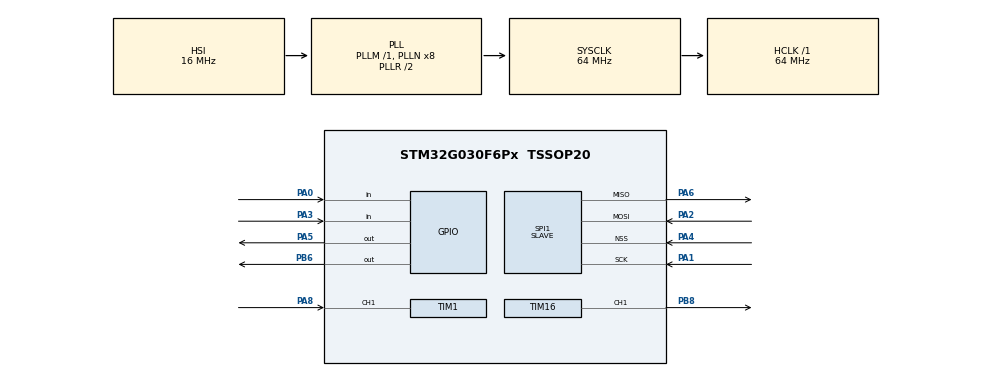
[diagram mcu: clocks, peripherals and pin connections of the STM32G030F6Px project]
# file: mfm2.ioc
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Dma.Request0=TIM1_CH1
Dma.Request1=SPI1_RX
Dma.Request2=SPI1_TX
Dma.Request3=TIM16_UP
Dma.SPI1_RX.1.Direction=DMA_PERIPH_TO_MEMORY
Dma.SPI1_RX.1.EventEnable=DISABLE
Dma.SPI1_RX.1.Instance=DMA1_Channel2
Dma.SPI1_RX.1.MemDataAlignment=DMA_MDATAALIGN_BYTE
Dma.SPI1_RX.1.MemInc=DMA_MINC_ENABLE
Dma.SPI1_RX.1.Mode=DMA_CIRCULAR
Dma.SPI1_RX.1.PeriphDataAlignment=DMA_PDATAALIGN_BYTE
Dma.SPI1_RX.1.PeriphInc=DMA_PINC_DISABLE
Dma.SPI1_RX.1.Polarity=HAL_DMAMUX_REQ_GEN_RISING
Dma.SPI1_RX.1.Priority=DMA_PRIORITY_VERY_HIGH
Dma.SPI1_RX.1.RequestNumber=1
Dma.SPI1_RX.1.SignalID=NONE
Dma.SPI1_RX.1.SyncEnable=DISABLE
Dma.SPI1_RX.1.SyncPolarity=HAL_DMAMUX_SYNC_NO_EVENT
Dma.SPI1_RX.1.SyncRequestNumber=1
Dma.SPI1_RX.1.SyncSignalID=NONE
Dma.SPI1_TX.2.Direction=DMA_MEMORY_TO_PERIPH
Dma.SPI1_TX.2.EventEnable=DISABLE
Dma.SPI1_TX.2.Instance=DMA1_Channel3
Dma.SPI1_TX.2.MemDataAlignment=DMA_MDATAALIGN_BYTE
Dma.SPI1_TX.2.MemInc=DMA_MINC_ENABLE
Dma.SPI1_TX.2.Mode=DMA_NORMAL
Dma.SPI1_TX.2.PeriphDataAlignment=DMA_PDATAALIGN_BYTE
Dma.SPI1_TX.2.PeriphInc=DMA_PINC_DISABLE
Dma.SPI1_TX.2.Polarity=HAL_DMAMUX_REQ_GEN_RISING
Dma.SPI1_TX.2.Priority=DMA_PRIORITY_HIGH
Dma.SPI1_TX.2.RequestNumber=1
Dma.SPI1_TX.2.SignalID=NONE
Dma.SPI1_TX.2.SyncEnable=DISABLE
Dma.SPI1_TX.2.SyncPolarity=HAL_DMAMUX_SYNC_NO_EVENT
Dma.SPI1_TX.2.SyncRequestNumber=1
Dma.SPI1_TX.2.SyncSignalID=NONE
Dma.TIM16_UP.3.Direction=DMA_MEMORY_TO_PERIPH
Dma.TIM16_UP.3.EventEnable=DISABLE
Dma.TIM16_UP.3.Instance=DMA1_Channel1
Dma.TIM16_UP.3.MemDataAlignment=DMA_MDATAALIGN_HALFWORD
Dma.TIM16_UP.3.MemInc=DMA_MINC_ENABLE
Dma.TIM16_UP.3.Mode=DMA_CIRCULAR
Dma.TIM16_UP.3.PeriphDataAlignment=DMA_PDATAALIGN_HALFWORD
Dma.TIM16_UP.3.PeriphInc=DMA_PINC_DISABLE
Dma.TIM16_UP.3.Polarity=HAL_DMAMUX_REQ_GEN_RISING
Dma.TIM16_UP.3.Priority=DMA_PRIORITY_LOW
Dma.TIM16_UP.3.RequestNumber=1
Dma.TIM16_UP.3.SignalID=NONE
Dma.TIM16_UP.3.SyncEnable=DISABLE
Dma.TIM16_UP.3.SyncPolarity=HAL_DMAMUX_SYNC_NO_EVENT
Dma.TIM16_UP.3.SyncRequestNumber=1
Dma.TIM16_UP.3.SyncSignalID=NONE
Dma.TIM1_CH1.0.Direction=DMA_PERIPH_TO_MEMORY
Dma.TIM1_CH1.0.EventEnable=DISABLE
Dma.TIM1_CH1.0.Instance=DMA1_Channel5
Dma.TIM1_CH1.0.MemDataAlignment=DMA_MDATAALIGN_HALFWORD
Dma.TIM1_CH1.0.MemInc=DMA_MINC_ENABLE
Dma.TIM1_CH1.0.Mode=DMA_CIRCULAR
Dma.TIM1_CH1.0.PeriphDataAlignment=DMA_PDATAALIGN_HALFWORD
Dma.TIM1_CH1.0.PeriphInc=DMA_PINC_DISABLE
Dma.TIM1_CH1.0.Polarity=HAL_DMAMUX_REQ_GEN_RISING
Dma.TIM1_CH1.0.Priority=DMA_PRIORITY_LOW
Dma.TIM1_CH1.0.RequestNumber=1
Dma.TIM1_CH1.0.SignalID=NONE
Dma.TIM1_CH1.0.SyncEnable=DISABLE
Dma.TIM1_CH1.0.SyncPolarity=HAL_DMAMUX_SYNC_NO_EVENT
Dma.TIM1_CH1.0.SyncRequestNumber=1
Dma.TIM1_CH1.0.SyncSignalID=NONE
Mcu.Family=STM32G0
Mcu.Name=STM32G030F6Px
Mcu.Package=TSSOP20
NVIC.DMA1_Ch4_5_DMAMUX1_OVR_IRQn=true\:0\:0\:false\:false\:true\:false\:true\:true
NVIC.DMA1_Channel1_IRQn=true\:0\:0\:false\:false\:true\:false\:true\:true
NVIC.DMA1_Channel2_3_IRQn=true\:0\:0\:false\:false\:true\:false\:true\:true
PA0.Signal=GPIO_Input
PA1.Mode=Full_Duplex_Slave
PA1.Signal=SPI1_SCK
PA14-BOOT0__PA15.StandardMode=true
PA2.Mode=Full_Duplex_Slave
PA2.Signal=SPI1_MOSI
PA3.Signal=GPIO_Input
PA4.Mode=NSS_Signal_Hard_Input
PA4.Signal=SPI1_NSS
PA5.Signal=GPIO_Output
PA6.Mode=Full_Duplex_Slave
PA6.Signal=SPI1_MISO
PA8.Signal=S_TIM1_CH1
PB0__PB1__PB2__PA8.StandardMode=true
PB3__PB4__PB5__PB6.StandardMode=true
PB6.Signal=GPIO_Output
PB7__PB8.StandardMode=true
PB8.Signal=S_TIM16_CH1
PC14-OSC32_IN\ (PC14)__PB9.StandardMode=true
ProjectManager.HeapSize=0x200
ProjectManager.StackSize=0x400
ProjectManager.TargetToolchain=STM32CubeIDE
RCC.ADCFreq_Value=64000000
RCC.AHBFreq_Value=64000000
RCC.CortexFreq_Value=64000000
RCC.EXTERNAL_CLOCK_VALUE=12288000
RCC.HCLKFreq_Value=64000000
RCC.HSE_VALUE=8000000
RCC.HSI_VALUE=16000000
RCC.LSE_VALUE=32768
RCC.SYSCLKFreq_VALUE=64000000
RCC.SYSCLKSource=RCC_SYSCLKSOURCE_PLLCLK
RCC.VCOOutputFreq_Value=128000000
SH.S_TIM16_CH1.0=TIM16_CH1,PWM Generation1 CH1
SH.S_TIM1_CH1.0=TIM1_CH1,Input_Capture1_from_TI1
SPI1.Direction=SPI_DIRECTION_2LINES
SPI1.Mode=SPI_MODE_SLAVE
SPI1.VirtualNSS=VM_NSSHARD
SPI1.VirtualType=VM_SLAVE
TIM1.Channel-Input_Capture1_from_TI1=TIM_CHANNEL_1
TIM1.ICFilter_CH1=1
TIM1.ICPolarity_CH1=TIM_INPUTCHANNELPOLARITY_FALLING
TIM1.Prescaler=7
TIM16.Channel=TIM_CHANNEL_1
TIM16.OC1Preload_PWM=DISABLE
TIM16.OCPolarity_1=TIM_OCPOLARITY_LOW
TIM16.Period=8
TIM16.Prescaler=31
TIM16.Pulse=1
VP_TIM16_VS_ClockSourceINT.Mode=Enable_Timer
VP_TIM1_VS_ClockSourceINT.Mode=Internal
board=custom

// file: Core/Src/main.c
/* USER CODE BEGIN Header */
/**
  ******************************************************************************
  * @file           : main.c
  * @brief          : Main program body
  ******************************************************************************
  * @attention
  *
  * Copyright (c) 2025 STMicroelectronics.
  * All rights reserved.
  *
  * This software is licensed under terms that can be found in the LICENSE file
  * in the root directory of this software component.
  * If no LICENSE file comes with this software, it is provided AS-IS.
  *
  ******************************************************************************
  */
/* USER CODE END Header */
#include "main.h"

/* USER CODE BEGIN Includes */

#include "circularbuffer.h"
#include "initializers.h"
#include "dma_handlers.h"

/* USER CODE END Includes */

SPI_HandleTypeDef hspi1;
DMA_HandleTypeDef hdma_spi1_rx;
DMA_HandleTypeDef hdma_spi1_tx;

TIM_HandleTypeDef htim1;
TIM_HandleTypeDef htim16;
DMA_HandleTypeDef hdma_tim1_ch1;
DMA_HandleTypeDef hdma_tim16_up;

void SystemClock_Config(void);
static void MX_GPIO_Init(void);
static void MX_DMA_Init(void);
static void MX_TIM16_Init(void);
static void MX_TIM1_Init(void);
static void MX_SPI1_Init(void);

/* USER CODE BEGIN 0 */

volatile uint16_t iStart, iEnd;

volatile uint8_t writingNow;

TWriteBuffer wrBuffer[WRITE_BUFFERS_COUNT];

TWriteBuffer* wrStore;
TWriteBuffer* wrSend;

volatile uint8_t spiIsSending;

uint8_t failedCount = 0;

// on write START - see which part of buffer is empty - lower part or upper part?
// Initialize pointer and count to the free empty part of tx buffer.
void onWriteStart(void)
{
    // restart write handling variables
    wrStreamByte = 0;
    wrBits = 0;

    wrStore->count = 2;
    wrStore->state = STATE_STORING;
}

uint8_t prevWhichPart = CIRC_HANDLE_NOTHING;

// on write END - mark start and end of this buffer with known tags, this
// marks the buffer used and esp will know that the valid data is between these tags.
void onWriteEnd(void)
{
    uint8_t otherPart = (prevWhichPart == CIRC_HANDLE_LOW) ? CIRC_HANDLE_HIGH : CIRC_HANDLE_LOW;
    processWriteTimerDma(otherPart);        // final processing of the OTHER part

    uint32_t bytesEmpty = WRITEBUFFER_SIZE - wrStore->count;            // how much more can we add to the buffer?
    uint32_t bytesRemove = (bytesEmpty >= 2) ? 0 : (2 - bytesEmpty);    // if have at least 2 bytes empty, don't remove anything; but for 1 or 0 empty bytes remove 1 or 2 bytes
    wrStore->count -= bytesRemove;

    wrStore->data[wrStore->count    ] = TAG_WRITE_END;  // store END tag after the last valid data byte
    wrStore->data[wrStore->count + 1] = 0;              // one more zero after end tag, just to be safe
    wrStore->count += 2;

    // too little data? probably glitch, ignore buffer and mark it as empty
    if(wrStore->count < 400) {
        wrStore->count = 2;
        wrStore->state = STATE_EMPTY;
    }
    else    // enough data, mark it for sending
    {
        wrStore->state = STATE_WAIT_FOR_SEND;   // this buffer is waiting for send
        wrStore = wrStore->next;                // next time store to next buffer
    }
}

/* USER CODE END 0 */

int main(void)
{

  /* MCU Configuration--------------------------------------------------------*/

  /* Reset of all peripherals, Initializes the Flash interface and the Systick. */
  HAL_Init();

  /* Configure the system clock */
  SystemClock_Config();

  /* Initialize all configured peripherals */
  MX_GPIO_Init();
  MX_DMA_Init();
  MX_TIM16_Init();
  MX_TIM1_Init();
  MX_SPI1_Init();
  /* USER CODE BEGIN 2 */

  RX_CLEAR();

  setupSpiUsingCircularDma();

  setupTMIcircularDma(DMA1_Channel1, TIM16, mfmReadStreamBuffer, MFM_READ_SIZE, 1);
  setupTMIcircularDma(DMA1_Channel5, TIM1,  mfmWriteStreamBuffer, MFM_WRITE_SIZE, 0);

  HAL_TIM_PWM_Start(&htim1, TIM_CHANNEL_1);
  HAL_TIM_PWM_Start(&htim16, TIM_CHANNEL_1);

  HAL_NVIC_DisableIRQ(DMA1_Ch4_5_DMAMUX1_OVR_IRQn);  // disable DMA channel 5 interrupt - will be handled in main loop

  // initialize write buffers - values, pointers, states
  for(int i=0; i<WRITE_BUFFERS_COUNT; i++) {
      wrBuffer[i].state = STATE_EMPTY;
      wrBuffer[i].count = 0;

      wrBuffer[i].data[0] = 0;
      wrBuffer[i].data[1] = TAG_WRITE_START;

      if(i < (WRITE_BUFFERS_COUNT - 1)) {
          wrBuffer[i].next = &wrBuffer[i + 1];
      } else {
          wrBuffer[i].next = &wrBuffer[0];
      }
  }

  wrStore = &wrBuffer[0];
  wrSend = &wrBuffer[0];

  UPDATE_PIN_RXE;       // set RXE pin because we're empty

  uint8_t writingPrev = (GPIOA->IDR & PIN_WGATE) == 0;      // track WGATE changes with this var, init to current WGATE state

  /* USER CODE END 2 */

  /* Infinite loop */
  while (1)
  {

    /* USER CODE BEGIN 3 */
      writingNow = (GPIOA->IDR & PIN_WGATE) == 0;     // true if now writing data (0.3 us)

      // when the WGATE signal changes, we need to
      // - on START of write - get pointer to empty buffer
      // - on END of write - just mark the buffer as ready to be sent and valid
      if(writingPrev != writingNow)   // when WGATE signal changed
      {
          writingPrev = writingNow;

          if(writingNow) {
              onWriteStart();                           // buffer: STATE_EMPTY -> STATE_STORING
          } else {
              onWriteEnd();                             // buffer: STATE_STORING -> STATE_WAIT_FOR_SEND
          }
      }

      // SPI is not sending data at this moment?
      if(!spiIsSending) {
          // Was the current send-buffer being sent, and now we're not sending?
          // It's empty now and we can move to next send-buffer.
          if(wrSend->state == STATE_SENDING) {
              wrSend->state = STATE_EMPTY;              // buffer: STATE_SENDING -> STATE_EMPTY
              wrSend = wrSend->next;
          }

          // Is the current send-buffer waiting to be sent? Start sending it, mark SPI as sending.
          if(wrSend->state == STATE_WAIT_FOR_SEND) {
              wrSend->state = STATE_SENDING;            // buffer: STATE_WAIT_FOR_SEND -> STATE_SENDING
              spiIsSending = 1;
              spiDmaTxBuffer((uint32_t) &wrSend->data[0], wrSend->count);  // send this buffer
          }
      }

      //----------
      // if writing, handle DMA channel
      if(writingNow) {
          uint32_t flag_it = DMA1->ISR;

          if((flag_it & DMA_FLAG_HT5) != 0)
          {
              DMA1->IFCR = DMA_FLAG_HT5;
              prevWhichPart = CIRC_HANDLE_LOW;
              processWriteTimerDma(prevWhichPart);
          }

          // Transfer Complete Interrupt management
          if((flag_it & DMA_FLAG_TC5) != 0)
          {
              DMA1->IFCR = DMA_FLAG_TC5;
              prevWhichPart = CIRC_HANDLE_HIGH;
              processWriteTimerDma(prevWhichPart);
          }
      }
  }
  /* USER CODE END 3 */
}

void SystemClock_Config(void)
{
  RCC_OscInitTypeDef RCC_OscInitStruct = {0};
  RCC_ClkInitTypeDef RCC_ClkInitStruct = {0};

  /** Configure the main internal regulator output voltage
  */
  HAL_PWREx_ControlVoltageScaling(PWR_REGULATOR_VOLTAGE_SCALE1);

  /** Initializes the RCC Oscillators according to the specified parameters
  * in the RCC_OscInitTypeDef structure.
  */
  RCC_OscInitStruct.OscillatorType = RCC_OSCILLATORTYPE_HSI;
  RCC_OscInitStruct.HSIState = RCC_HSI_ON;
  RCC_OscInitStruct.HSIDiv = RCC_HSI_DIV1;
  RCC_OscInitStruct.HSICalibrationValue = RCC_HSICALIBRATION_DEFAULT;
  RCC_OscInitStruct.PLL.PLLState = RCC_PLL_ON;
  RCC_OscInitStruct.PLL.PLLSource = RCC_PLLSOURCE_HSI;
  RCC_OscInitStruct.PLL.PLLM = RCC_PLLM_DIV1;
  RCC_OscInitStruct.PLL.PLLN = 8;
  RCC_OscInitStruct.PLL.PLLP = RCC_PLLP_DIV2;
  RCC_OscInitStruct.PLL.PLLR = RCC_PLLR_DIV2;
  if (HAL_RCC_OscConfig(&RCC_OscInitStruct) != HAL_OK)
  {
    Error_Handler();
  }

  /** Initializes the CPU, AHB and APB buses clocks
  */
  RCC_ClkInitStruct.ClockType = RCC_CLOCKTYPE_HCLK|RCC_CLOCKTYPE_SYSCLK
                              |RCC_CLOCKTYPE_PCLK1;
  RCC_ClkInitStruct.SYSCLKSource = RCC_SYSCLKSOURCE_PLLCLK;
  RCC_ClkInitStruct.AHBCLKDivider = RCC_SYSCLK_DIV1;
  RCC_ClkInitStruct.APB1CLKDivider = RCC_HCLK_DIV1;

  if (HAL_RCC_ClockConfig(&RCC_ClkInitStruct, FLASH_LATENCY_2) != HAL_OK)
  {
    Error_Handler();
  }
}

static void MX_SPI1_Init(void)
{

  /* SPI1 parameter configuration*/
  hspi1.Instance = SPI1;
  hspi1.Init.Mode = SPI_MODE_SLAVE;
  hspi1.Init.Direction = SPI_DIRECTION_2LINES;
  hspi1.Init.DataSize = SPI_DATASIZE_8BIT;
  hspi1.Init.CLKPolarity = SPI_POLARITY_LOW;
  hspi1.Init.CLKPhase = SPI_PHASE_1EDGE;
  hspi1.Init.NSS = SPI_NSS_HARD_INPUT;
  hspi1.Init.FirstBit = SPI_FIRSTBIT_MSB;
  hspi1.Init.TIMode = SPI_TIMODE_DISABLE;
  hspi1.Init.CRCCalculation = SPI_CRCCALCULATION_DISABLE;
  hspi1.Init.CRCPolynomial = 7;
  hspi1.Init.CRCLength = SPI_CRC_LENGTH_DATASIZE;
  hspi1.Init.NSSPMode = SPI_NSS_PULSE_DISABLE;
  if (HAL_SPI_Init(&hspi1) != HAL_OK)
  {
    Error_Handler();
  }

}

static void MX_TIM1_Init(void)
{

  TIM_ClockConfigTypeDef sClockSourceConfig = {0};
  TIM_MasterConfigTypeDef sMasterConfig = {0};
  TIM_IC_InitTypeDef sConfigIC = {0};

  htim1.Instance = TIM1;
  htim1.Init.Prescaler = 7;
  htim1.Init.CounterMode = TIM_COUNTERMODE_UP;
  htim1.Init.Period = 65535;
  htim1.Init.ClockDivision = TIM_CLOCKDIVISION_DIV1;
  htim1.Init.RepetitionCounter = 0;
  htim1.Init.AutoReloadPreload = TIM_AUTORELOAD_PRELOAD_DISABLE;
  if (HAL_TIM_Base_Init(&htim1) != HAL_OK)
  {
    Error_Handler();
  }
  sClockSourceConfig.ClockSource = TIM_CLOCKSOURCE_INTERNAL;
  if (HAL_TIM_ConfigClockSource(&htim1, &sClockSourceConfig) != HAL_OK)
  {
    Error_Handler();
  }
  if (HAL_TIM_IC_Init(&htim1) != HAL_OK)
  {
    Error_Handler();
  }
  sMasterConfig.MasterOutputTrigger = TIM_TRGO_RESET;
  sMasterConfig.MasterOutputTrigger2 = TIM_TRGO2_RESET;
  sMasterConfig.MasterSlaveMode = TIM_MASTERSLAVEMODE_DISABLE;
  if (HAL_TIMEx_MasterConfigSynchronization(&htim1, &sMasterConfig) != HAL_OK)
  {
    Error_Handler();
  }
  sConfigIC.ICPolarity = TIM_INPUTCHANNELPOLARITY_FALLING;
  sConfigIC.ICSelection = TIM_ICSELECTION_DIRECTTI;
  sConfigIC.ICPrescaler = TIM_ICPSC_DIV1;
  sConfigIC.ICFilter = 1;
  if (HAL_TIM_IC_ConfigChannel(&htim1, &sConfigIC, TIM_CHANNEL_1) != HAL_OK)
  {
    Error_Handler();
  }

}

static void MX_TIM16_Init(void)
{

  TIM_OC_InitTypeDef sConfigOC = {0};
  TIM_BreakDeadTimeConfigTypeDef sBreakDeadTimeConfig = {0};

  htim16.Instance = TIM16;
  htim16.Init.Prescaler = 31;
  htim16.Init.CounterMode = TIM_COUNTERMODE_UP;
  htim16.Init.Period = 8;
  htim16.Init.ClockDivision = TIM_CLOCKDIVISION_DIV1;
  htim16.Init.RepetitionCounter = 0;
  htim16.Init.AutoReloadPreload = TIM_AUTORELOAD_PRELOAD_DISABLE;
  if (HAL_TIM_Base_Init(&htim16) != HAL_OK)
  {
    Error_Handler();
  }
  if (HAL_TIM_PWM_Init(&htim16) != HAL_OK)
  {
    Error_Handler();
  }
  sConfigOC.OCMode = TIM_OCMODE_PWM1;
  sConfigOC.Pulse = 1;
  sConfigOC.OCPolarity = TIM_OCPOLARITY_LOW;
  sConfigOC.OCNPolarity = TIM_OCNPOLARITY_HIGH;
  sConfigOC.OCFastMode = TIM_OCFAST_DISABLE;
  sConfigOC.OCIdleState = TIM_OCIDLESTATE_RESET;
  sConfigOC.OCNIdleState = TIM_OCNIDLESTATE_RESET;
  if (HAL_TIM_PWM_ConfigChannel(&htim16, &sConfigOC, TIM_CHANNEL_1) != HAL_OK)
  {
    Error_Handler();
  }
  __HAL_TIM_DISABLE_OCxPRELOAD(&htim16, TIM_CHANNEL_1);
  sBreakDeadTimeConfig.OffStateRunMode = TIM_OSSR_DISABLE;
  sBreakDeadTimeConfig.OffStateIDLEMode = TIM_OSSI_DISABLE;
  sBreakDeadTimeConfig.LockLevel = TIM_LOCKLEVEL_OFF;
  sBreakDeadTimeConfig.DeadTime = 0;
  sBreakDeadTimeConfig.BreakState = TIM_BREAK_DISABLE;
  sBreakDeadTimeConfig.BreakPolarity = TIM_BREAKPOLARITY_HIGH;
  sBreakDeadTimeConfig.BreakFilter = 0;
  sBreakDeadTimeConfig.AutomaticOutput = TIM_AUTOMATICOUTPUT_DISABLE;
  if (HAL_TIMEx_ConfigBreakDeadTime(&htim16, &sBreakDeadTimeConfig) != HAL_OK)
  {
    Error_Handler();
  }
  HAL_TIM_MspPostInit(&htim16);

}

static void MX_DMA_Init(void)
{

  /* DMA controller clock enable */
  __HAL_RCC_DMA1_CLK_ENABLE();

  /* DMA interrupt init */
  /* DMA1_Channel1_IRQn interrupt configuration */
  HAL_NVIC_SetPriority(DMA1_Channel1_IRQn, 0, 0);
  HAL_NVIC_EnableIRQ(DMA1_Channel1_IRQn);
  /* DMA1_Channel2_3_IRQn interrupt configuration */
  HAL_NVIC_SetPriority(DMA1_Channel2_3_IRQn, 0, 0);
  HAL_NVIC_EnableIRQ(DMA1_Channel2_3_IRQn);
  /* DMA1_Ch4_5_DMAMUX1_OVR_IRQn interrupt configuration */
  HAL_NVIC_SetPriority(DMA1_Ch4_5_DMAMUX1_OVR_IRQn, 0, 0);
  HAL_NVIC_EnableIRQ(DMA1_Ch4_5_DMAMUX1_OVR_IRQn);

}

static void MX_GPIO_Init(void)
{
  GPIO_InitTypeDef GPIO_InitStruct = {0};

  /* GPIO Ports Clock Enable */
  __HAL_RCC_GPIOB_CLK_ENABLE();
  __HAL_RCC_GPIOA_CLK_ENABLE();

  /*Configure GPIO pin Output Level */
  HAL_GPIO_WritePin(GPIOA, GPIO_PIN_5, GPIO_PIN_RESET);

  /*Configure GPIO pin Output Level */
  HAL_GPIO_WritePin(GPIOB, GPIO_PIN_6, GPIO_PIN_RESET);

  /*Configure GPIO pins : PA0 PA3 */
  GPIO_InitStruct.Pin = GPIO_PIN_0|GPIO_PIN_3;
  GPIO_InitStruct.Mode = GPIO_MODE_INPUT;
  GPIO_InitStruct.Pull = GPIO_NOPULL;
  HAL_GPIO_Init(GPIOA, &GPIO_InitStruct);

  /*Configure GPIO pin : PA5 */
  GPIO_InitStruct.Pin = GPIO_PIN_5;
  GPIO_InitStruct.Mode = GPIO_MODE_OUTPUT_PP;
  GPIO_InitStruct.Pull = GPIO_NOPULL;
  GPIO_InitStruct.Speed = GPIO_SPEED_FREQ_LOW;
  HAL_GPIO_Init(GPIOA, &GPIO_InitStruct);

  /*Configure GPIO pin : PB6 */
  GPIO_InitStruct.Pin = GPIO_PIN_6;
  GPIO_InitStruct.Mode = GPIO_MODE_OUTPUT_PP;
  GPIO_InitStruct.Pull = GPIO_NOPULL;
  GPIO_InitStruct.Speed = GPIO_SPEED_FREQ_LOW;
  HAL_GPIO_Init(GPIOB, &GPIO_InitStruct);

}

void Error_Handler(void)
{
  __disable_irq();
  while (1)
  {
  }
}
